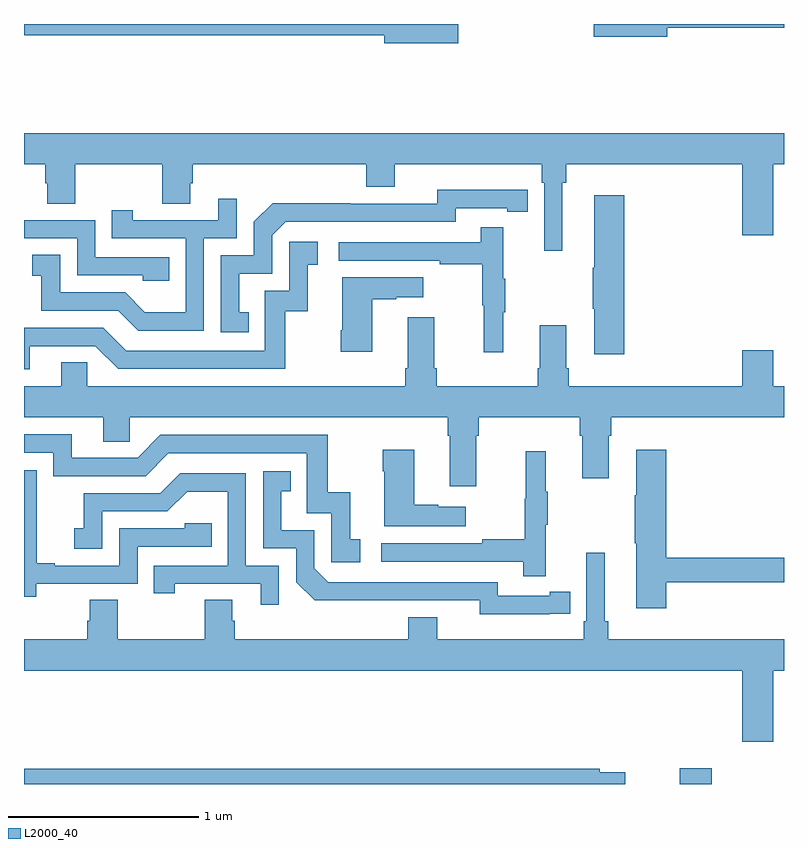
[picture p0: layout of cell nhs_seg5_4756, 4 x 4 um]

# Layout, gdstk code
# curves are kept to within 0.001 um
import gdstk
lib = gdstk.Library(unit=1e-6, precision=1e-09)
def R(c, l, rs):  # rectangles x0, y0, x1, y1
    for r in rs: c.add(gdstk.rectangle(r[:2], r[2:], *l))
def P(c, l, *ps):  # polygons
    for p in ps: c.add(gdstk.Polygon(p, *l))
L2000_40 = (2000, 40)

nhs_seg5_4756 = lib.new_cell('nhs_seg5_4756')
R(nhs_seg5_4756, L2000_40, [(392.45,886.799,392.621,886.882)])
P(nhs_seg5_4756, L2000_40, [(392.386,890.779),(393,890.779),(393,890.799),(391.998,890.799),(391.998,890.732),(392.386,890.732)],
  [(391.285,890.799),(389,890.799),(389,890.74),(390.896,890.74),(390.896,890.698),(391.285,890.698)],
  [(389,890.06),(389.111,890.06),(389.111,889.962),(389.123,889.962),(389.123,889.852),(389.271,889.852),(389.271,890.06),(389.728,890.06),(389.728,889.852),(389.875,889.852),(389.875,889.962),(389.888,889.962),(389.888,890.06),(390.8,890.06),(390.8,889.943),(390.952,889.943),(390.952,890.06),(391.724,890.06),(391.724,889.964),(391.737,889.964),(391.737,889.605),(391.834,889.605),(391.834,889.964),(391.853,889.964),(391.853,890.06),(392.78,890.06),(392.78,889.686),(392.944,889.686),(392.944,890.06),(393,890.06),(393,890.224),(389,890.224)],
  [(390.182,889.281),(390.133,889.281),(390.133,889.485),(390.306,889.485),(390.306,889.686),(390.378,889.758),(391.272,889.758),(391.272,889.83),(391.544,889.83),(391.544,889.81),(391.652,889.81),(391.652,889.926),(391.176,889.927),(391.176,889.854),(390.716,889.854),(390.716,889.856),(390.308,889.856),(390.21,889.758),(390.21,889.581),(390.036,889.581),(390.036,889.176),(390.182,889.176)],
  [(392.159,889.897),(392,889.897),(392,889.517),(391.993,889.517),(391.993,889.3),(392,889.3),(392,889.062),(392.159,889.062)],
  [(389.946,889.671),(390.12,889.671),(390.12,889.879),(390.023,889.879),(390.023,889.767),(389.572,889.767),(389.572,889.819),(389.461,889.819),(389.461,889.671),(389.85,889.671),(389.85,889.282),(389.636,889.282),(389.532,889.386),(389.19,889.386),(389.19,889.585),(389.043,889.585),(389.043,889.475),(389.092,889.475),(389.092,889.29),(389.495,889.29),(389.6,889.185),(389.946,889.185)],
  [(389.765,889.572),(389.376,889.572),(389.376,889.767),(389,889.767),(389,889.671),(389.28,889.671),(389.28,889.476),(389.625,889.476),(389.625,889.449),(389.765,889.449)],
  [(391.523,889.283),(391.534,889.283),(391.534,889.457),(391.523,889.457),(391.523,889.729),(391.405,889.729),(391.405,889.65),(390.657,889.65),(390.657,889.554),(391.189,889.554),(391.189,889.534),(391.413,889.534),(391.413,889.32),(391.42,889.32),(391.42,889.071),(391.523,889.071)],
  [(389.029,889.104),(389.376,889.104),(389.496,888.984),(390.376,888.984),(390.376,889.287),(390.494,889.287),(390.494,889.533),(390.547,889.533),(390.547,889.654),(390.396,889.654),(390.396,889.395),(390.267,889.395),(390.267,889.08),(389.538,889.08),(389.418,889.2),(389,889.2),(389,888.981),(389.029,888.981)],
  [(390.832,889.351),(390.959,889.351),(390.959,889.361),(391.102,889.361),(391.102,889.465),(390.674,889.465),(390.674,889.186),(390.667,889.186),(390.667,889.074),(390.832,889.074)],
  [(389.334,889.019),(389.195,889.019),(389.195,888.892),(389,888.892),(389,888.728),(389.417,888.728),(389.417,888.601),(389.556,888.601),(389.556,888.728),(391.229,888.728),(391.229,888.632),(391.241,888.632),(391.241,888.366),(391.381,888.366),(391.381,888.632),(391.394,888.632),(391.394,888.728),(391.925,888.728),(391.925,888.632),(391.937,888.632),(391.937,888.408),(392.077,888.408),(392.077,888.632),(392.09,888.632),(392.09,888.728),(393,888.728),(393,888.892),(392.944,888.892),(392.944,889.081),(392.78,889.081),(392.78,888.892),(391.868,888.892),(391.868,888.988),(391.855,888.988),(391.855,889.213),(391.715,889.213),(391.715,888.988),(391.703,888.988),(391.703,888.892),(391.172,888.892),(391.172,888.988),(391.159,888.988),(391.159,889.255),(391.019,889.255),(391.019,888.988),(391.007,888.988),(391.007,888.892),(389.334,888.892)],
  [(390.769,888.087),(390.716,888.087),(390.716,888.334),(390.598,888.334),(390.598,888.636),(389.718,888.636),(389.598,888.516),(389.251,888.516),(389.251,888.639),(389,888.639),(389,888.543),(389.154,888.543),(389.154,888.42),(389.64,888.42),(389.76,888.54),(390.489,888.54),(390.489,888.225),(390.618,888.225),(390.618,887.967),(390.769,887.967)],
  [(392.381,887.862),(393,887.862),(393,887.99),(392.381,887.99),(392.381,888.559),(392.222,888.559),(392.222,888.32),(392.215,888.32),(392.215,888.067),(392.222,888.067),(392.222,887.724),(392.381,887.724)],
  [(391.324,888.259),(391.181,888.259),(391.181,888.269),(391.054,888.269),(391.054,888.559),(390.889,888.559),(390.889,888.446),(390.896,888.446),(390.896,888.155),(391.324,888.155)],
  [(391.745,888.163),(391.756,888.163),(391.756,888.337),(391.745,888.337),(391.745,888.55),(391.642,888.55),(391.642,888.3),(391.635,888.3),(391.635,888.086),(391.411,888.086),(391.411,888.066),(390.879,888.066),(390.879,887.97),(391.627,887.97),(391.627,887.892),(391.745,887.892)],
  [(389.064,887.853),(389.598,887.853),(389.598,888.048),(389.987,888.048),(389.987,888.171),(389.847,888.171),(389.847,888.144),(389.502,888.144),(389.502,887.949),(389.161,887.949),(389.161,887.962),(389.066,887.962),(389.066,888.245),(389.067,888.245),(389.067,888.451),(389,888.451),(389,887.785),(389.064,887.785)],
  [(391.766,887.694),(391.874,887.694),(391.874,887.81),(391.766,887.81),(391.766,887.79),(391.494,887.79),(391.494,887.862),(390.6,887.862),(390.528,887.934),(390.528,888.135),(390.355,888.135),(390.355,888.339),(390.404,888.339),(390.404,888.445),(390.258,888.445),(390.258,888.039),(390.432,888.039),(390.432,887.862),(390.53,887.765),(391.398,887.766),(391.398,887.693)],
  [(390.342,887.949),(390.168,887.949),(390.168,888.435),(389.822,888.435),(389.717,888.33),(389.314,888.33),(389.314,888.145),(389.265,888.145),(389.265,888.036),(389.412,888.036),(389.412,888.234),(389.754,888.234),(389.858,888.338),(390.072,888.338),(390.072,887.949),(389.683,887.949),(389.683,887.802),(389.794,887.802),(389.794,887.853),(390.245,887.853),(390.245,887.742),(390.342,887.742)],
  [(392.944,887.396),(393,887.396),(393,887.56),(392.075,887.56),(392.075,887.656),(392.056,887.656),(392.056,888.016),(391.959,888.016),(391.959,887.656),(391.946,887.656),(391.946,887.56),(391.174,887.56),(391.174,887.677),(391.022,887.677),(391.022,887.56),(390.11,887.56),(390.11,887.658),(390.097,887.658),(390.097,887.768),(389.95,887.768),(389.95,887.56),(389.493,887.56),(389.493,887.768),(389.345,887.768),(389.345,887.658),(389.333,887.658),(389.333,887.56),(389,887.56),(389,887.396),(392.78,887.396),(392.78,887.022),(392.944,887.022)],
  [(392.164,886.86),(392.03,886.86),(392.03,886.88),(389,886.88),(389,886.799),(392.164,886.799)])

lib.write_gds('nhs_seg5_4756.gds')
